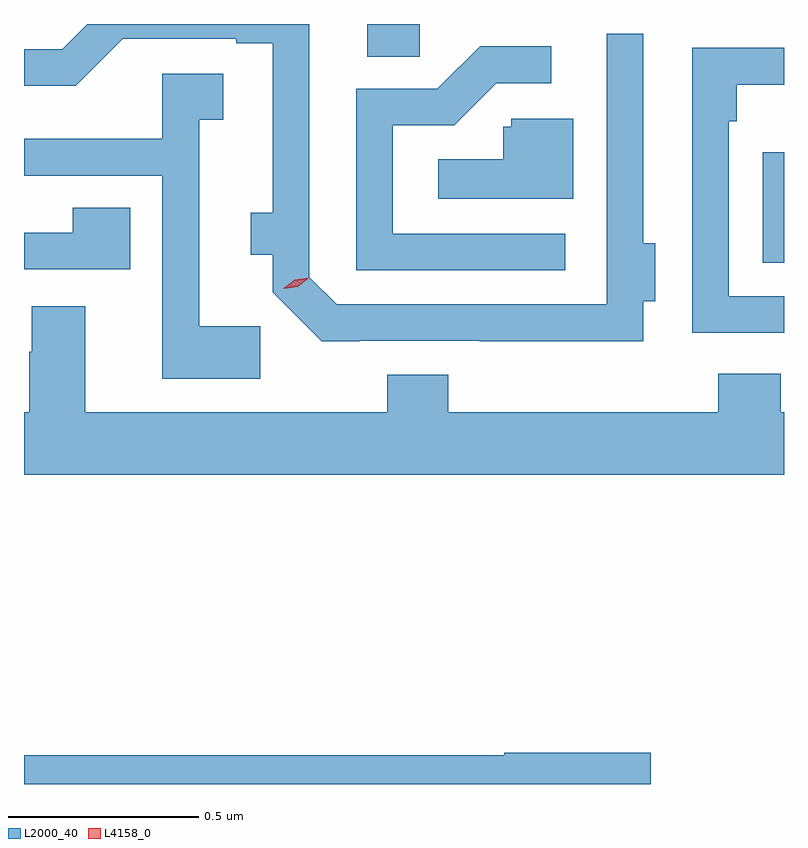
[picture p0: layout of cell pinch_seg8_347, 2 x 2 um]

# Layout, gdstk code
import gdstk
lib = gdstk.Library(unit=1e-6, precision=1e-09)
def R(c, l, rs):  # rectangles x0, y0, x1, y1
    for r in rs: c.add(gdstk.rectangle(r[:2], r[2:], *l))
def P(c, l, *ps):  # polygons
    for p in ps: c.add(gdstk.Polygon(p, *l))
L2000_40 = (2000, 40)
L4158_0 = (4158, 0)

pinch_seg8_347 = lib.new_cell('pinch_seg8_347')
R(pinch_seg8_347, L2000_40, [(395.576,1157.018,395.632,1157.308), (394.535,1157.56,394.674,1157.646)])
P(pinch_seg8_347, L2000_40, [(394.516,1156.812),(394.831,1156.812),(394.831,1156.811),(395.262,1156.811),(395.262,1156.916),(395.293,1156.916),(395.293,1157.069),(395.262,1157.069),(395.262,1157.62),(395.166,1157.62),(395.166,1156.908),(394.455,1156.908),(394.383,1156.98),(394.383,1157.646),(393.798,1157.646),(393.732,1157.58),(393.632,1157.58),(393.632,1157.483),(393.768,1157.483),(393.892,1157.607),(394.19,1157.607),(394.19,1157.595),(394.286,1157.595),(394.286,1157.149),(394.229,1157.149),(394.229,1157.039),(394.286,1157.039),(394.286,1156.94),(394.415,1156.811),(394.516,1156.811)],
  [(395.056,1157.094),(394.602,1157.094),(394.602,1157.379),(394.764,1157.379),(394.875,1157.49),(395.02,1157.49),(395.02,1157.588),(394.832,1157.588),(394.719,1157.475),(394.506,1157.475),(394.506,1156.998),(395.056,1156.998)],
  [(395.632,1156.929),(395.487,1156.929),(395.487,1157.39),(395.507,1157.39),(395.507,1157.486),(395.632,1157.486),(395.632,1157.583),(395.391,1157.583),(395.391,1156.833),(395.632,1156.833)],
  [(394.254,1156.851),(394.093,1156.851),(394.093,1157.394),(394.156,1157.394),(394.156,1157.515),(393.996,1157.515),(393.996,1157.344),(393.632,1157.344),(393.632,1157.247),(393.996,1157.247),(393.996,1156.712),(394.254,1156.712)],
  [(395.077,1157.397),(394.914,1157.397),(394.914,1157.376),(394.893,1157.376),(394.893,1157.29),(394.722,1157.29),(394.722,1157.186),(395.077,1157.186)],
  [(393.911,1157.162),(393.76,1157.162),(393.76,1157.097),(393.632,1157.097),(393.632,1157.001),(393.911,1157.001)],
  [(395.632,1156.624),(395.624,1156.624),(395.624,1156.726),(395.459,1156.726),(395.459,1156.624),(394.748,1156.624),(394.748,1156.723),(394.588,1156.723),(394.588,1156.624),(393.793,1156.624),(393.793,1156.903),(393.653,1156.903),(393.653,1156.784),(393.646,1156.784),(393.646,1156.624),(393.632,1156.624),(393.632,1156.46),(395.632,1156.46)],
  [(395.281,1155.728),(394.896,1155.728),(394.896,1155.722),(393.632,1155.722),(393.632,1155.646),(395.281,1155.646)])
P(pinch_seg8_347, L4158_0, [(394.316,1156.949),(394.316,1156.949),(394.316,1156.95),(394.345,1156.973),(394.382,1156.978),(394.383,1156.978),(394.383,1156.978),(394.353,1156.954)])

lib.write_gds('pinch_seg8_347.gds')
